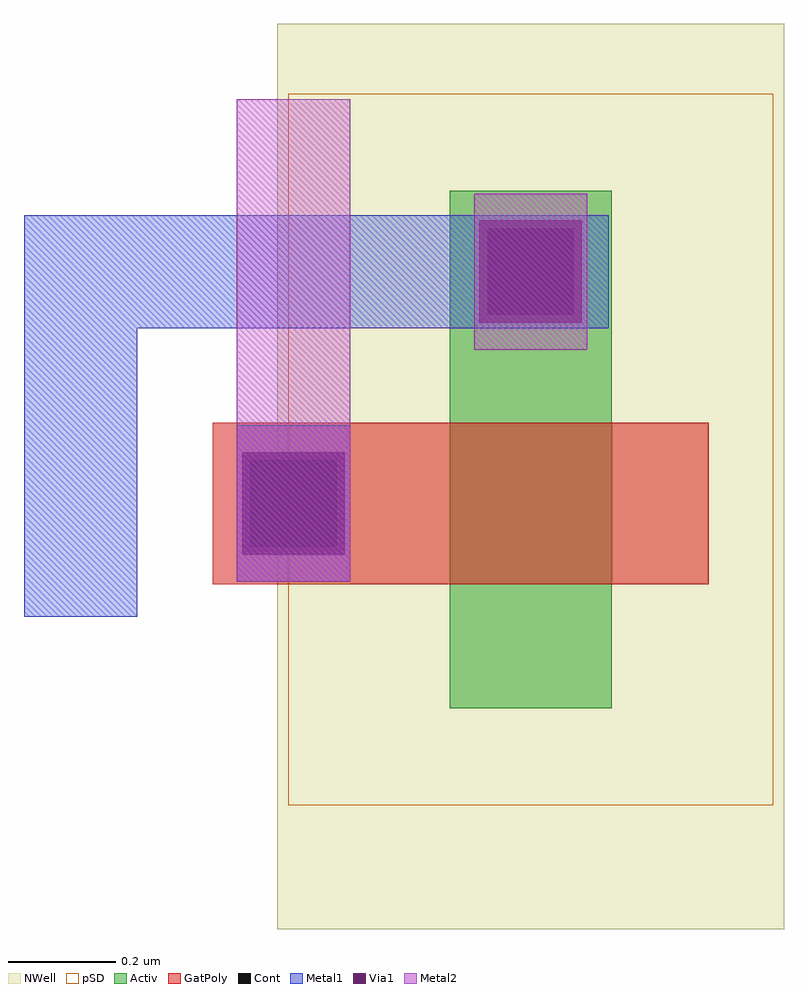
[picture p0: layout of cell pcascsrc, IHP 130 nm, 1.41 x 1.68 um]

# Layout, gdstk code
import gdstk
lib = gdstk.Library(unit=1e-6, precision=1e-09)
def R(c, l, rs):  # rectangles x0, y0, x1, y1
    for r in rs: c.add(gdstk.rectangle(r[:2], r[2:], *l))
Activ = (1, 0)
GatPoly = (5, 0)
Cont = (6, 0)
Metal1 = (8, 0)
Metal2 = (10, 0)
pSD = (14, 0)
Via1 = (19, 0)
NWell = (31, 0)

pcascsrc = lib.new_cell('pcascsrc')
R(pcascsrc, Activ, [(0.29,-0.38,0.59,0.58)])
R(pcascsrc, GatPoly, [(-0.15,-0.15,0.77,0.15)])
R(pcascsrc, Cont, [(-0.08,-0.08,0.08,0.08), (0.36,0.35,0.52,0.51)])
R(pcascsrc, Metal1, [(-0.105,-0.145,0.105,0.145), (0.295,0.325,0.585,0.535)])
R(pcascsrc, Metal2, [(-0.105,-0.145,0.105,0.145), (0.335,0.285,0.545,0.575)])
R(pcascsrc, pSD, [(-0.01,-0.56,0.89,0.76)])
R(pcascsrc, Via1, [(-0.095,-0.095,0.095,0.095), (0.345,0.335,0.535,0.525)])
R(pcascsrc, NWell, [(-0.03,-0.79,0.91,0.89)])
pcascsrc.add(gdstk.FlexPath([(0.36,0.43),(-0.395,0.43),(-0.395,-0.21)], 0.21, ends="flush", simple_path=True, layer=8, datatype=0))  # Metal1
pcascsrc.add(gdstk.FlexPath([(0,0),(0,0.75)], 0.21, ends="flush", simple_path=True, layer=10, datatype=0))  # Metal2

lib.write_gds('pcascsrc.gds')
